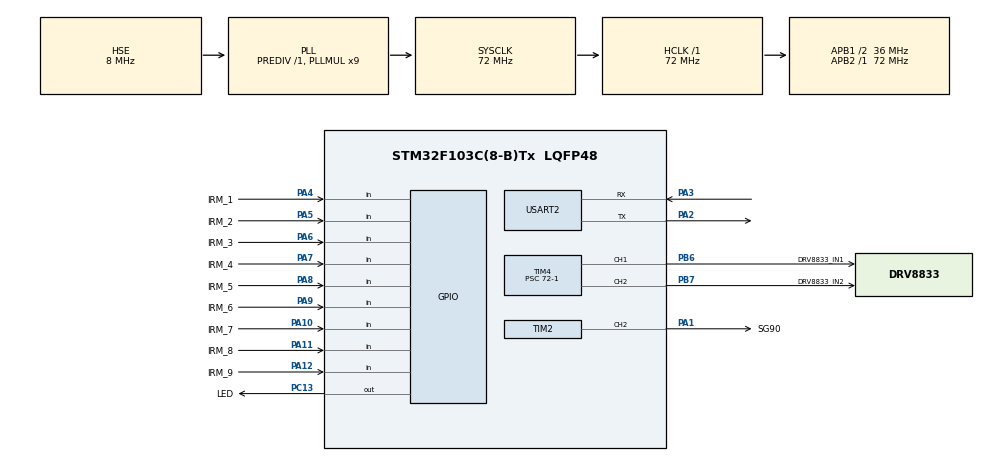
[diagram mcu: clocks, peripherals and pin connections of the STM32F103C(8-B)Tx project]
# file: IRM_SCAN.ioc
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Mcu.Family=STM32F1
Mcu.Name=STM32F103C(8-B)Tx
Mcu.Package=LQFP48
NVIC.PriorityGroup=NVIC_PRIORITYGROUP_4
PA1.GPIO_Label=SG90
PA1.Signal=S_TIM2_CH2
PA10.GPIO_Label=IRM_7
PA10.Signal=GPIO_Input
PA11.GPIO_Label=IRM_8
PA11.Signal=GPIO_Input
PA12.GPIO_Label=IRM_9
PA12.Signal=GPIO_Input
PA13.Mode=Serial_Wire
PA13.Signal=SYS_JTMS-SWDIO
PA14.Mode=Serial_Wire
PA14.Signal=SYS_JTCK-SWCLK
PA2.Mode=Asynchronous
PA2.Signal=USART2_TX
PA3.Mode=Asynchronous
PA3.Signal=USART2_RX
PA4.GPIO_Label=IRM_1
PA4.Signal=GPIO_Input
PA5.GPIO_Label=IRM_2
PA5.Signal=GPIO_Input
PA6.GPIO_Label=IRM_3
PA6.Signal=GPIO_Input
PA7.GPIO_Label=IRM_4
PA7.Signal=GPIO_Input
PA8.GPIO_Label=IRM_5
PA8.Signal=GPIO_Input
PA9.GPIO_Label=IRM_6
PA9.Signal=GPIO_Input
PB6.GPIO_Label=DRV8833_IN1
PB6.Signal=S_TIM4_CH1
PB7.GPIO_Label=DRV8833_IN2
PB7.Signal=S_TIM4_CH2
PC13-TAMPER-RTC.GPIO_Label=LED
PC13-TAMPER-RTC.Signal=GPIO_Output
PD0-OSC_IN.Mode=HSE-External-Oscillator
PD0-OSC_IN.Signal=RCC_OSC_IN
PD1-OSC_OUT.Mode=HSE-External-Oscillator
PD1-OSC_OUT.Signal=RCC_OSC_OUT
ProjectManager.HeapSize=0x200
ProjectManager.StackSize=0x400
ProjectManager.TargetToolchain=MDK-ARM V5.32
RCC.AHBFreq_Value=72000000
RCC.APB1CLKDivider=RCC_HCLK_DIV2
RCC.APB1Freq_Value=36000000
RCC.APB1TimFreq_Value=72000000
RCC.APB2Freq_Value=72000000
RCC.APB2TimFreq_Value=72000000
RCC.HCLKFreq_Value=72000000
RCC.PLLMUL=RCC_PLL_MUL9
RCC.PLLSourceVirtual=RCC_PLLSOURCE_HSE
RCC.SYSCLKFreq_VALUE=72000000
RCC.SYSCLKSource=RCC_SYSCLKSOURCE_PLLCLK
RCC.USBFreq_Value=72000000
SH.S_TIM2_CH2.0=TIM2_CH2,PWM Generation2 CH2
SH.S_TIM4_CH1.0=TIM4_CH1,PWM Generation1 CH1
SH.S_TIM4_CH2.0=TIM4_CH2,PWM Generation2 CH2
TIM2.Channel-PWM\ Generation2\ CH2=TIM_CHANNEL_2
TIM2.Period=2000-1
TIM2.Prescaler=720-1
TIM2.Pulse-PWM\ Generation2\ CH2=50
TIM4.Channel-PWM\ Generation1\ CH1=TIM_CHANNEL_1
TIM4.Channel-PWM\ Generation2\ CH2=TIM_CHANNEL_2
TIM4.Period=100-1
TIM4.Prescaler=72-1
USART2.VirtualMode=VM_ASYNC
VP_TIM2_VS_ClockSourceINT.Mode=Internal
VP_TIM4_VS_ClockSourceINT.Mode=Internal
board=custom

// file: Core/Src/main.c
/* USER CODE BEGIN Header */
/**
  ******************************************************************************
  * @file           : main.c
  * @brief          : Main program body
  ******************************************************************************
  * @attention
  *
  * Copyright (c) 2025 STMicroelectronics.
  * All rights reserved.
  *
  * This software is licensed under terms that can be found in the LICENSE file
  * in the root directory of this software component.
  * If no LICENSE file comes with this software, it is provided AS-IS.
  *
  ******************************************************************************
  */
/* USER CODE END Header */
#include "main.h"
#include "tim.h"
#include "usart.h"
#include "gpio.h"

/* USER CODE BEGIN Includes */
#include "sg90.h"
#include "drv8833.h"
#include <stdio.h>
#include <string.h>
/* USER CODE END Includes */

/* USER CODE BEGIN PV */
char msg[20];
int speed = 100;
/* USER CODE END PV */

void SystemClock_Config(void);

/* USER CODE BEGIN 0 */
void IRM_Scan()
{
  // if (HAL_GPIO_ReadPin(IRM_3_GPIO_Port, IRM_3_Pin) == GPIO_PIN_RESET)
  // {
  //   HAL_Delay(10);
  //   if (HAL_GPIO_ReadPin(IRM_3_GPIO_Port, IRM_3_Pin) == GPIO_PIN_RESET && HAL_GPIO_ReadPin(IRM_7_GPIO_Port, IRM_7_Pin) == GPIO_PIN_RESET) return;

  //   HAL_UART_Transmit(&huart2, (uint8_t*)"3", sizeof("3"), 1000);
  //   HAL_GPIO_TogglePin(LED_GPIO_Port, LED_Pin); // Toggle the LED on PC13
  //   SG90_TurnRight();
  //   HAL_Delay(20);
  // }

  // if (HAL_GPIO_ReadPin(IRM_7_GPIO_Port, IRM_7_Pin) == GPIO_PIN_RESET)
  // {
  //   HAL_Delay(10);
  //   if (HAL_GPIO_ReadPin(IRM_7_GPIO_Port, IRM_7_Pin) == GPIO_PIN_RESET && HAL_GPIO_ReadPin(IRM_3_GPIO_Port, IRM_3_Pin) == GPIO_PIN_RESET) return;

  //   HAL_UART_Transmit(&huart2, (uint8_t*)"7", sizeof("7"), 1000);
  //   HAL_GPIO_TogglePin(LED_GPIO_Port, LED_Pin); // Toggle the LED on PC13
  //   SG90_TurnLeft();
  //   HAL_Delay(20);
  // }

  // if (HAL_GPIO_ReadPin(IRM_5_GPIO_Port, IRM_5_Pin) == GPIO_PIN_RESET)
  // {
  //   HAL_UART_Transmit(&huart2, (uint8_t*)"5", sizeof("5"), 1000);
  //   // int cmp;
  //   // cmp = __HAL_TIM_GET_COMPARE(&htim2, TIM_CHANNEL_2);
  //   // char tmp[10];
  //   // sprintf(tmp, "\nCMP:%d\n", cmp);
  //   // HAL_UART_Transmit(&huart2, (uint8_t*)tmp, strlen(tmp), HAL_MAX_DELAY);
  //   HAL_GPIO_TogglePin(LED_GPIO_Port, LED_Pin); // Toggle the LED on PC13
  // }
  if (HAL_GPIO_ReadPin(IRM_6_GPIO_Port, IRM_6_Pin) == GPIO_PIN_RESET)
  {
    HAL_UART_Transmit(&huart2, (uint8_t*)"6", sizeof("6"), 1000);
    HAL_GPIO_TogglePin(LED_GPIO_Port, LED_Pin); // Toggle the LED on PC13
    SG90_TurnRight();
		HAL_Delay(50);
  }
  if (HAL_GPIO_ReadPin(IRM_4_GPIO_Port, IRM_4_Pin) == GPIO_PIN_RESET)
  {
    HAL_UART_Transmit(&huart2, (uint8_t*)"4", sizeof("4"), 1000);
    HAL_GPIO_TogglePin(LED_GPIO_Port, LED_Pin); // Toggle the LED on PC13
    SG90_TurnLeft();
		HAL_Delay(30);
  }
  if (HAL_GPIO_ReadPin(IRM_3_GPIO_Port, IRM_3_Pin) == GPIO_PIN_RESET)
  {
    if (HAL_GPIO_ReadPin(IRM_7_GPIO_Port, IRM_7_Pin) == GPIO_PIN_RESET) return;
    HAL_UART_Transmit(&huart2, (uint8_t*)"7", sizeof("7"), 1000);
    HAL_GPIO_TogglePin(LED_GPIO_Port, LED_Pin); // Toggle the LED on PC13
    SG90_TurnLeft();
		HAL_Delay(40);
  }
  if (HAL_GPIO_ReadPin(IRM_7_GPIO_Port, IRM_7_Pin) == GPIO_PIN_RESET)
  {
    if (HAL_GPIO_ReadPin(IRM_3_GPIO_Port, IRM_3_Pin) == GPIO_PIN_RESET) return;
    HAL_UART_Transmit(&huart2, (uint8_t*)"3", sizeof("3"), 1000);
    HAL_GPIO_TogglePin(LED_GPIO_Port, LED_Pin); // Toggle the LED on PC13
    SG90_TurnRight();
		HAL_Delay(60);
  }
  if (HAL_GPIO_ReadPin(IRM_2_GPIO_Port, IRM_2_Pin) == GPIO_PIN_RESET)
  {
    HAL_UART_Transmit(&huart2, (uint8_t*)"2", sizeof("2"), 1000);
    HAL_GPIO_TogglePin(LED_GPIO_Port, LED_Pin); // Toggle the LED on PC13
    SG90_TurnLeft();
		HAL_Delay(20);
  }
  if (HAL_GPIO_ReadPin(IRM_8_GPIO_Port, IRM_8_Pin) == GPIO_PIN_RESET)
  {
    HAL_UART_Transmit(&huart2, (uint8_t*)"8", sizeof("8"), 1000);
    HAL_GPIO_TogglePin(LED_GPIO_Port, LED_Pin); // Toggle the LED on PC13
    SG90_TurnRight();
		HAL_Delay(40);
  }
  if (HAL_GPIO_ReadPin(IRM_1_GPIO_Port, IRM_1_Pin) == GPIO_PIN_RESET)
  {
    HAL_UART_Transmit(&huart2, (uint8_t*)"1", sizeof("1"), 1000);
    HAL_GPIO_TogglePin(LED_GPIO_Port, LED_Pin); // Toggle the LED on PC13
		SG90_TurnLeft();
		HAL_Delay(10);
  }
  if (HAL_GPIO_ReadPin(IRM_9_GPIO_Port, IRM_9_Pin) == GPIO_PIN_RESET)
  {
    HAL_UART_Transmit(&huart2, (uint8_t*)"9", sizeof("9"), 1000);
    HAL_GPIO_TogglePin(LED_GPIO_Port, LED_Pin); // Toggle the LED on
		SG90_TurnRight();
		HAL_Delay(20);
  }

  // if (HAL_GPIO_ReadPin(IRM_4_GPIO_Port, IRM_4_Pin) == GPIO_PIN_RESET)
  // {
  //   // if (HAL_GPIO_ReadPin(IRM_6_GPIO_Port, IRM_6_Pin) != GPIO_PIN_RESET)
  //   // {
  //   //   HAL_UART_Transmit(&huart2, (uint8_t*)"4", sizeof("4"), 1000);
  //   //   HAL_GPIO_TogglePin(LED_GPIO_Port, LED_Pin); // Toggle the LED on PC13
  //   //   //SG90_TurnRight();//
  //   //   HAL_Delay(50);
  //   // }
  //   // else
  //   {
  //     if (HAL_GPIO_ReadPin(IRM_3_GPIO_Port, IRM_3_Pin) == GPIO_PIN_RESET)
  //     {
  //       if (HAL_GPIO_ReadPin(IRM_7_GPIO_Port, IRM_7_Pin) != GPIO_PIN_RESET)
  //       {
  //         HAL_UART_Transmit(&huart2, (uint8_t*)"3", sizeof("3"), 1000);
  //         HAL_GPIO_TogglePin(LED_GPIO_Port, LED_Pin); // Toggle the LED on PC13
  //         SG90_TurnRight();//
  //         HAL_Delay(50);
  //       }
  //       else
  //       {
  //         if (HAL_GPIO_ReadPin(IRM_2_GPIO_Port, IRM_2_Pin) == GPIO_PIN_RESET)
  //         {
  //           if (HAL_GPIO_ReadPin(IRM_8_GPIO_Port, IRM_8_Pin) != GPIO_PIN_RESET)
  //           {
  //             HAL_UART_Transmit(&huart2, (uint8_t*)"2", sizeof("2"), 1000);
  //             HAL_GPIO_TogglePin(LED_GPIO_Port, LED_Pin); // Toggle the LED on PC13
  //             SG90_TurnRight();//
  //             HAL_Delay(50);
  //           }
  //           else
  //           {
  //             if (HAL_GPIO_ReadPin(IRM_1_GPIO_Port, IRM_1_Pin) == GPIO_PIN_RESET)
  //             {
  //               if (HAL_GPIO_ReadPin(IRM_9_GPIO_Port, IRM_9_Pin) != GPIO_PIN_RESET)
  //               {
  //                 HAL_UART_Transmit(&huart2, (uint8_t*)"1", sizeof("1"), 1000);
  //                 HAL_GPIO_TogglePin(LED_GPIO_Port, LED_Pin); // Toggle the LED on PC13
  //                 SG90_TurnRight();//
  //                 HAL_Delay(50);
  //               }
  //             }
  //           }
  //         }
  //       }
  //     }
  //   }
  // }

  // if (HAL_GPIO_ReadPin(IRM_6_GPIO_Port, IRM_6_Pin) == GPIO_PIN_RESET)
  // {
  //   // if (HAL_GPIO_ReadPin(IRM_4_GPIO_Port, IRM_4_Pin) != GPIO_PIN_RESET)
  //   // {
  //   //   HAL_UART_Transmit(&huart2, (uint8_t*)"6", sizeof("6"), 1000);
  //   //   HAL_GPIO_TogglePin(LED_GPIO_Port, LED_Pin); // Toggle the LED on PC13
  //   //   //SG90_TurnLeft();//
  //   //   HAL_Delay(50);
  //   // }
  //   // else
  //   {
  //     if (HAL_GPIO_ReadPin(IRM_7_GPIO_Port, IRM_7_Pin) == GPIO_PIN_RESET)
  //     {
  //       if (HAL_GPIO_ReadPin(IRM_3_GPIO_Port, IRM_3_Pin) != GPIO_PIN_RESET)
  //       {
  //         HAL_UART_Transmit(&huart2, (uint8_t*)"7", sizeof("7"), 1000);
  //         HAL_GPIO_TogglePin(LED_GPIO_Port, LED_Pin); // Toggle the LED on PC13
  //         SG90_TurnLeft();//
  //         HAL_Delay(50);
  //       }
  //       else
  //       {
  //         if (HAL_GPIO_ReadPin(IRM_8_GPIO_Port, IRM_8_Pin) == GPIO_PIN_RESET)
  //         {
  //           if (HAL_GPIO_ReadPin(IRM_2_GPIO_Port, IRM_2_Pin) != GPIO_PIN_RESET)
  //           {
  //             HAL_UART_Transmit(&huart2, (uint8_t*)"8", sizeof("8"), 1000);
  //             HAL_GPIO_TogglePin(LED_GPIO_Port, LED_Pin); // Toggle the LED on PC13
  //             SG90_TurnLeft();//
  //             HAL_Delay(50);
  //           }
  //           else
  //           {
  //             if (HAL_GPIO_ReadPin(IRM_9_GPIO_Port, IRM_9_Pin) == GPIO_PIN_RESET)
  //             {
  //               if (HAL_GPIO_ReadPin(IRM_1_GPIO_Port, IRM_1_Pin) != GPIO_PIN_RESET)
  //               {
  //                 HAL_UART_Transmit(&huart2, (uint8_t*)"9", sizeof("9"), 1000);
  //                 HAL_GPIO_TogglePin(LED_GPIO_Port, LED_Pin); // Toggle the LED on PC13
  //                 SG90_TurnLeft();//
  //                 HAL_Delay(50);
  //               }
  //             }
  //           }
  //         }
  //       }
  //     }
  //   }
  // }

}
/* USER CODE END 0 */

int main(void)
{

  /* MCU Configuration--------------------------------------------------------*/

  /* Reset of all peripherals, Initializes the Flash interface and the Systick. */
  HAL_Init();

  /* Configure the system clock */
  SystemClock_Config();

  /* Initialize all configured peripherals */
  MX_GPIO_Init();
  MX_USART2_UART_Init();
  MX_TIM2_Init();
  MX_TIM4_Init();
  /* USER CODE BEGIN 2 */
  HAL_UART_Transmit(&huart2, (uint8_t*)"REBOOT", sizeof("REBOOT"), 1000);
  SG90_Init();
	DRV8833_Init();
	DRV8833_Forward(speed);
  /* USER CODE END 2 */

  /* Infinite loop */
  /* USER CODE BEGIN WHILE */
  while (1)
  {
    // SG90_TurnLeft();
    // HAL_Delay(1000);
    // HAL_GPIO_TogglePin(LED_GPIO_Port, LED_Pin); // Toggle the LED on PC13
    // HAL_UART_Transmit(&huart2, (uint8_t*)"LEFT", sizeof("LEFT"), 1000);
    // SG90_Reset();
    // HAL_Delay(500);
    // SG90_TurnRight();
    // HAL_GPIO_TogglePin(LED_GPIO_Port, LED_Pin); // Toggle the LED on PC13
    // HAL_Delay(1000);
    // HAL_UART_Transmit(&huart2, (uint8_t*)"RIGHT", sizeof("RIGHT"), 1000);
    // SG90_Reset();
    // HAL_Delay(500);

    #ifdef SHEEPNUM
    IRM_Scan();
    SG90_Reset();
    #endif

    // SG90_Reset();
    #ifdef SHEEPNUM == 2
    // SG90_TurnRight();
    // HAL_Delay(1000);
    // SG90_Reset();
    // HAL_Delay(1000);
    // SG90_TurnLeft();
    // HAL_Delay(1000);
    // SG90_Reset();
    // HAL_Delay(1000);
    #endif

    /* USER CODE END WHILE */

  }
}

void SystemClock_Config(void)
{
  RCC_OscInitTypeDef RCC_OscInitStruct = {0};
  RCC_ClkInitTypeDef RCC_ClkInitStruct = {0};

  /** Initializes the RCC Oscillators according to the specified parameters
  * in the RCC_OscInitTypeDef structure.
  */
  RCC_OscInitStruct.OscillatorType = RCC_OSCILLATORTYPE_HSE;
  RCC_OscInitStruct.HSEState = RCC_HSE_ON;
  RCC_OscInitStruct.HSEPredivValue = RCC_HSE_PREDIV_DIV1;
  RCC_OscInitStruct.HSIState = RCC_HSI_ON;
  RCC_OscInitStruct.PLL.PLLState = RCC_PLL_ON;
  RCC_OscInitStruct.PLL.PLLSource = RCC_PLLSOURCE_HSE;
  RCC_OscInitStruct.PLL.PLLMUL = RCC_PLL_MUL9;
  if (HAL_RCC_OscConfig(&RCC_OscInitStruct) != HAL_OK)
  {
    Error_Handler();
  }

  /** Initializes the CPU, AHB and APB buses clocks
  */
  RCC_ClkInitStruct.ClockType = RCC_CLOCKTYPE_HCLK|RCC_CLOCKTYPE_SYSCLK
                              |RCC_CLOCKTYPE_PCLK1|RCC_CLOCKTYPE_PCLK2;
  RCC_ClkInitStruct.SYSCLKSource = RCC_SYSCLKSOURCE_PLLCLK;
  RCC_ClkInitStruct.AHBCLKDivider = RCC_SYSCLK_DIV1;
  RCC_ClkInitStruct.APB1CLKDivider = RCC_HCLK_DIV2;
  RCC_ClkInitStruct.APB2CLKDivider = RCC_HCLK_DIV1;

  if (HAL_RCC_ClockConfig(&RCC_ClkInitStruct, FLASH_LATENCY_2) != HAL_OK)
  {
    Error_Handler();
  }
}

void Error_Handler(void)
{
  __disable_irq();
  while (1)
  {
  }
}
